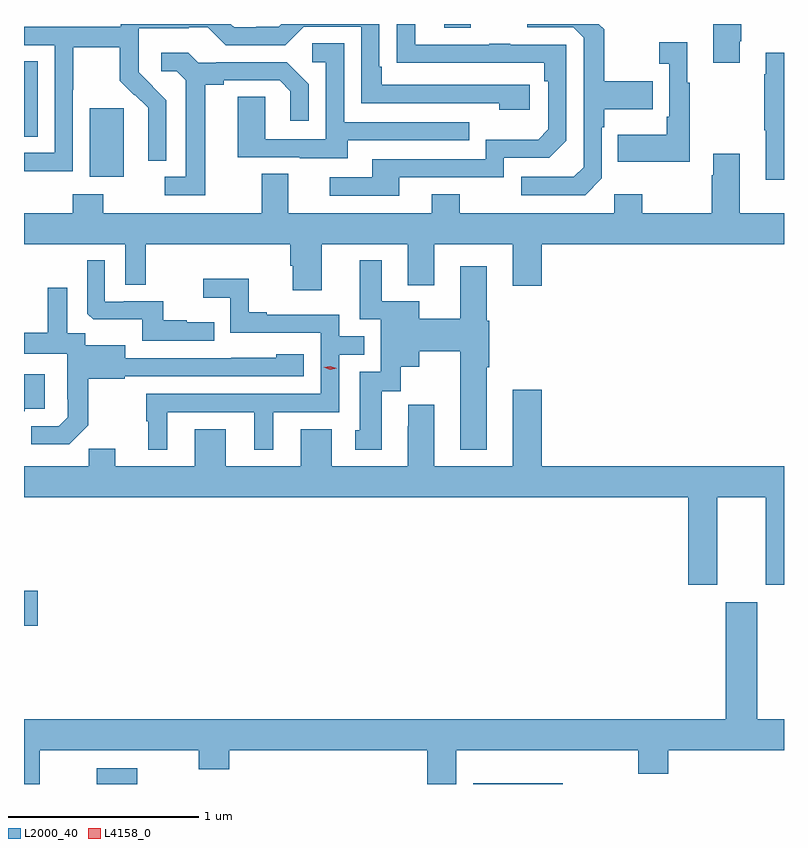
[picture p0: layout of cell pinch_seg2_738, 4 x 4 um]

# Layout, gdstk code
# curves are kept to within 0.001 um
import gdstk
lib = gdstk.Library(unit=1e-6, precision=1e-09)
def R(c, l, rs):  # rectangles x0, y0, x1, y1
    for r in rs: c.add(gdstk.rectangle(r[:2], r[2:], *l))
def P(c, l, *ps):  # polygons
    for p in ps: c.add(gdstk.Polygon(p, *l))
L2000_40 = (2000, 40)
L4158_0 = (4158, 0)

pinch_seg2_738 = lib.new_cell('pinch_seg2_738')
R(pinch_seg2_738, L2000_40, [(868.433,651.455,868.648,651.537), (870.416,651.455,870.886,651.46), (868.051,652.289,868.123,652.472), (868.397,654.65,868.576,655.011), (868.051,654.862,868.123,655.259), (870.263,655.434,870.403,655.455)])
P(pinch_seg2_738, L2000_40, [(870.025,654.648),(870.576,654.648),(870.576,654.75),(870.816,654.75),(870.906,654.84),(870.906,655.347),(870.611,655.347),(870.611,655.352),(870.499,655.352),(870.499,655.347),(870.109,655.347),(870.109,655.455),(870.013,655.455),(870.013,655.252),(870.79,655.251),(870.79,655.154),(870.81,655.154),(870.81,654.9),(870.757,654.847),(870.48,654.847),(870.48,654.744),(869.885,654.744),(869.885,654.648),(869.661,654.648),(869.661,654.552),(870.025,654.552)],
  [(871.819,655.363),(871.827,655.363),(871.827,655.455),(871.679,655.455),(871.679,655.251),(871.819,655.251)],
  [(868.308,655.108),(868.311,655.108),(868.311,655.332),(868.555,655.332),(868.555,655.157),(868.632,655.08),(868.635,655.083),(868.706,655.013),(868.706,654.89),(868.704,654.89),(868.704,654.736),(868.8,654.736),(868.8,655.054),(868.654,655.202),(868.654,655.299),(868.656,655.299),(868.656,655.433),(868.919,655.433),(868.919,655.437),(869.019,655.437),(869.112,655.344),(869.427,655.344),(869.523,655.44),(869.826,655.44),(869.826,655.038),(870.551,655.038),(870.551,655.004),(870.712,655.004),(870.712,655.134),(869.935,655.134),(869.935,655.231),(869.922,655.231),(869.922,655.455),(869.406,655.455),(869.391,655.44),(869.273,655.44),(869.273,655.437),(869.157,655.437),(869.139,655.455),(868.56,655.455),(868.56,655.44),(868.051,655.44),(868.051,655.344),(868.212,655.344),(868.212,654.777),(868.051,654.777),(868.051,654.679),(868.308,654.679)],
  [(871.092,654.642),(871.092,654.911),(871.105,654.911),(871.105,655.007),(871.361,655.007),(871.361,655.155),(871.105,655.155),(871.105,655.427),(871.077,655.455),(870.699,655.455),(870.699,655.437),(870.942,655.437),(870.996,655.383),(870.996,654.702),(870.945,654.651),(870.669,654.651),(870.669,654.555),(871.005,654.555)],
  [(871.555,655.147),(871.543,655.147),(871.543,655.36),(871.395,655.36),(871.395,655.247),(871.446,655.247),(871.446,654.967),(871.434,654.967),(871.434,654.871),(871.177,654.871),(871.177,654.731),(871.555,654.731)],
  [(869.755,654.843),(870.395,654.843),(870.395,654.939),(869.736,654.939),(869.736,655.355),(869.568,655.355),(869.568,655.254),(869.64,655.254),(869.64,654.849),(869.322,654.849),(869.322,655.073),(869.177,655.073),(869.177,654.753),(869.501,654.753),(869.501,654.749),(869.755,654.749)],
  [(869.005,655.136),(869.101,655.136),(869.101,655.158),(869.396,655.158),(869.453,655.101),(869.453,654.945),(869.55,654.945),(869.55,655.138),(869.434,655.254),(869.062,655.254),(869.062,655.251),(868.968,655.251),(868.916,655.303),(868.773,655.303),(868.773,655.206),(868.854,655.206),(868.901,655.159),(868.901,654.651),(868.791,654.651),(868.791,654.555),(869.005,654.555)],
  [(872.051,655.303),(871.955,655.303),(871.955,655.19),(871.948,655.19),(871.948,654.897),(871.955,654.897),(871.955,654.636),(872.051,654.636)],
  [(869.617,654.296),(870.071,654.296),(870.071,654.08),(870.211,654.08),(870.211,654.296),(870.623,654.296),(870.623,654.078),(870.776,654.078),(870.776,654.296),(872.051,654.296),(872.051,654.46),(871.819,654.46),(871.819,654.772),(871.679,654.772),(871.679,654.659),(871.672,654.659),(871.672,654.46),(871.305,654.46),(871.305,654.559),(871.158,654.559),(871.158,654.46),(870.345,654.46),(870.345,654.559),(870.197,654.559),(870.197,654.46),(869.443,654.46),(869.443,654.668),(869.303,654.668),(869.303,654.46),(868.467,654.46),(868.467,654.559),(868.307,654.559),(868.307,654.46),(868.051,654.46),(868.051,654.296),(868.584,654.296),(868.584,654.082),(868.693,654.082),(868.693,654.296),(869.453,654.296),(869.453,654.183),(869.465,654.183),(869.465,654.054),(869.617,654.054)],
  [(870.487,653.648),(870.5,653.648),(870.5,653.892),(870.487,653.892),(870.487,654.181),(870.347,654.181),(870.347,653.904),(870.13,653.904),(870.13,653.995),(869.935,653.995),(869.935,654.211),(869.819,654.211),(869.819,653.901),(869.928,653.901),(869.928,653.625),(869.819,653.625),(869.819,653.316),(869.795,653.316),(869.795,653.214),(869.935,653.214),(869.935,653.522),(870.033,653.522),(870.033,653.651),(870.13,653.651),(870.13,653.732),(870.347,653.732),(870.347,653.213),(870.487,653.213)],
  [(869.051,653.884),(868.907,653.884),(868.907,653.896),(868.784,653.896),(868.784,653.997),(868.576,653.997),(868.576,653.994),(868.476,653.994),(868.476,654.211),(868.383,654.211),(868.383,653.931),(868.415,653.9),(868.674,653.9),(868.674,653.787),(869.051,653.787)],
  [(868.804,653.412),(869.264,653.412),(869.264,653.213),(869.362,653.213),(869.362,653.412),(869.709,653.412),(869.709,653.715),(869.842,653.715),(869.842,653.811),(869.709,653.811),(869.709,653.925),(869.329,653.925),(869.329,653.938),(869.235,653.938),(869.235,654.113),(868.995,654.113),(868.995,654.014),(869.136,654.014),(869.136,653.829),(869.613,653.829),(869.613,653.508),(868.695,653.508),(868.695,653.364),(868.706,653.364),(868.706,653.213),(868.804,653.213)],
  [(868.389,653.343),(868.389,653.589),(868.581,653.589),(868.581,653.601),(869.524,653.601),(869.524,653.716),(869.379,653.716),(869.379,653.698),(868.585,653.697),(868.585,653.764),(868.374,653.764),(868.374,653.828),(868.279,653.828),(868.279,654.067),(868.175,654.067),(868.175,653.83),(868.051,653.83),(868.051,653.72),(868.278,653.72),(868.278,653.479),(868.28,653.479),(868.28,653.384),(868.233,653.337),(868.089,653.337),(868.089,653.243),(868.289,653.243)],
  [(868.055,653.43),(868.159,653.43),(868.159,653.611),(868.051,653.611),(868.051,653.418),(868.055,653.418)],
  [(871.699,652.964),(871.955,652.964),(871.955,652.503),(872.051,652.503),(872.051,653.128),(870.776,653.128),(870.776,653.53),(870.623,653.53),(870.623,653.128),(870.211,653.128),(870.211,653.452),(870.074,653.452),(870.074,653.339),(870.071,653.339),(870.071,653.128),(869.671,653.128),(869.671,653.323),(869.507,653.323),(869.507,653.128),(869.113,653.128),(869.113,653.323),(868.949,653.323),(868.949,653.128),(868.531,653.128),(868.531,653.219),(868.393,653.219),(868.393,653.128),(868.051,653.128),(868.051,652.964),(871.547,652.964),(871.547,652.503),(871.699,652.503)],
  [(868.135,651.632),(868.972,651.632),(868.972,651.533),(869.132,651.533),(869.132,651.632),(870.173,651.632),(870.173,651.455),(870.325,651.455),(870.325,651.632),(871.285,651.632),(871.285,651.508),(871.442,651.508),(871.442,651.632),(872.051,651.632),(872.051,651.796),(871.909,651.796),(871.909,652.411),(871.745,652.411),(871.745,651.796),(868.051,651.796),(868.051,651.455),(868.135,651.455)])
P(pinch_seg2_738, L4158_0, [(869.662,653.635),(869.629,653.648),(869.628,653.648),(869.629,653.648),(869.664,653.655),(869.697,653.643),(869.698,653.642),(869.697,653.642)])

lib.write_gds('pinch_seg2_738.gds')
